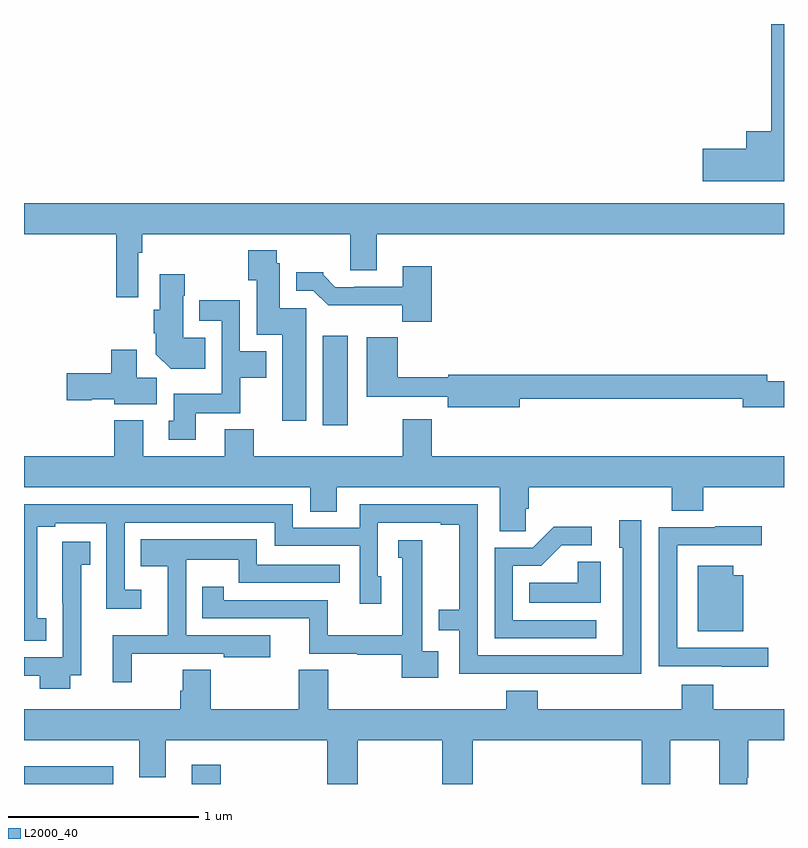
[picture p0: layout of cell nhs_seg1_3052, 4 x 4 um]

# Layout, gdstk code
import gdstk
lib = gdstk.Library(unit=1e-6, precision=1e-09)
def R(c, l, rs):  # rectangles x0, y0, x1, y1
    for r in rs: c.add(gdstk.rectangle(r[:2], r[2:], *l))
def P(c, l, *ps):  # polygons
    for p in ps: c.add(gdstk.Polygon(p, *l))
L2000_40 = (2000, 40)

nhs_seg1_3052 = lib.new_cell('nhs_seg1_3052')
R(nhs_seg1_3052, L2000_40, [(277,522.199,277.471,522.292), (277.883,522.199,278.036,522.301), (278.573,524.088,278.704,524.557)])
P(nhs_seg1_3052, L2000_40, [(281,526.199),(280.932,526.199),(280.932,525.634),(280.802,525.634),(280.802,525.542),(280.572,525.542),(280.572,525.371),(281,525.371)],
  [(277.602,524.996),(277.622,524.996),(277.622,525.092),(278.717,525.092),(278.717,524.902),(278.857,524.902),(278.857,525.092),(281,525.092),(281,525.256),(277,525.256),(277,525.092),(277.486,525.092),(277.486,524.76),(277.602,524.76)],
  [(278.485,524.703),(278.347,524.703),(278.347,524.94),(278.331,524.94),(278.331,525.007),(278.179,525.007),(278.179,524.851),(278.225,524.851),(278.225,524.564),(278.36,524.564),(278.36,524.112),(278.485,524.112)],
  [(279.146,524.923),(278.993,524.923),(278.993,524.817),(278.737,524.817),(278.737,524.814),(278.638,524.814),(278.574,524.878),(278.574,524.893),(278.432,524.893),(278.432,524.796),(278.523,524.796),(278.602,524.718),(278.991,524.718),(278.991,524.633),(279.146,524.633)],
  [(277.955,524.548),(277.837,524.548),(277.837,524.768),(277.845,524.768),(277.845,524.881),(277.715,524.881),(277.715,524.694),(277.682,524.694),(277.682,524.572),(277.694,524.572),(277.694,524.462),(277.772,524.384),(277.955,524.384)],
  [(277.903,524.15),(278.139,524.15),(278.139,524.336),(278.275,524.336),(278.275,524.476),(278.136,524.476),(278.136,524.746),(277.923,524.746),(277.923,524.637),(278.04,524.637),(278.04,524.254),(277.787,524.254),(277.787,524.112),(277.763,524.112),(277.763,524.01),(277.903,524.01)],
  [(279.61,524.226),(280.784,524.226),(280.784,524.183),(281,524.183),(281,524.318),(280.912,524.318),(280.912,524.354),(279.234,524.354),(279.234,524.339),(278.966,524.339),(278.966,524.551),(278.804,524.551),(278.804,524.238),(279.23,524.238),(279.23,524.183),(279.61,524.183)],
  [(277.699,524.336),(277.594,524.336),(277.594,524.485),(277.46,524.485),(277.46,524.36),(277.224,524.36),(277.224,524.218),(277.356,524.218),(277.356,524.225),(277.476,524.225),(277.476,524.198),(277.699,524.198)],
  [(278.21,524.065),(278.057,524.065),(278.057,523.924),(277.627,523.924),(277.627,524.113),(277.475,524.113),(277.475,523.924),(277,523.924),(277,523.76),(278.507,523.76),(278.507,523.633),(278.647,523.633),(278.647,523.76),(279.503,523.76),(279.503,523.528),(279.641,523.528),(279.641,523.648),(279.656,523.648),(279.656,523.76),(280.409,523.76),(280.409,523.636),(280.574,523.636),(280.574,523.76),(281,523.76),(281,523.924),(279.146,523.924),(279.146,524.119),(278.993,524.119),(278.993,523.924),(278.21,523.924)],
  [(280.248,523.588),(280.133,523.588),(280.133,523.443),(280.152,523.443),(280.152,522.876),(279.387,522.876),(279.387,523.671),(278.766,523.671),(278.766,523.548),(278.415,523.548),(278.415,523.671),(277.427,523.671),(277.427,523.672),(277,523.672),(277,522.952),(277.118,522.952),(277.118,523.071),(277.069,523.071),(277.069,523.554),(277.165,523.554),(277.165,523.571),(277.434,523.571),(277.434,523.121),(277.618,523.121),(277.618,523.222),(277.53,523.222),(277.53,523.575),(278.319,523.575),(278.319,523.452),(278.766,523.452),(278.766,523.149),(278.881,523.149),(278.881,523.293),(278.862,523.293),(278.862,523.575),(279.194,523.575),(279.194,523.563),(279.29,523.563),(279.29,523.117),(279.182,523.117),(279.182,523.008),(279.291,523.008),(279.291,522.78),(279.787,522.78),(279.787,522.779),(280.248,522.779)],
  [(280.918,522.915),(280.437,522.915),(280.437,523.455),(280.882,523.455),(280.882,523.555),(280.637,523.555),(280.637,523.551),(280.341,523.551),(280.341,522.819),(280.673,522.819),(280.673,522.815),(280.918,522.815)],
  [(280.012,523.062),(279.573,523.062),(279.573,523.347),(279.723,523.347),(279.831,523.455),(279.988,523.455),(279.988,523.553),(279.788,523.553),(279.678,523.443),(279.477,523.443),(279.477,522.966),(280.012,522.966)],
  [(277.568,522.885),(278.051,522.885),(278.051,522.866),(278.296,522.866),(278.296,522.981),(277.854,522.981),(277.854,523.379),(278.13,523.379),(278.13,523.258),(278.233,523.258),(278.233,523.257),(278.662,523.257),(278.662,523.353),(278.226,523.353),(278.226,523.486),(277.615,523.486),(277.615,523.346),(277.757,523.346),(277.757,522.982),(277.466,522.982),(277.466,522.735),(277.568,522.735)],
  [(279.181,522.898),(279.096,522.898),(279.096,522.994),(279.097,522.994),(279.097,523.482),(278.969,523.482),(278.969,523.389),(278.99,523.389),(278.99,522.982),(278.599,522.982),(278.599,523.167),(278.052,523.167),(278.052,523.237),(277.939,523.237),(277.939,523.071),(278.501,523.071),(278.501,522.885),(278.754,522.885),(278.754,522.88),(278.988,522.88),(278.988,522.758),(279.181,522.758)],
  [(277.243,522.771),(277.3,522.771),(277.3,523.353),(277.349,523.353),(277.349,523.474),(277.202,523.474),(277.202,523.15),(277.203,523.15),(277.203,522.867),(277,522.867),(277,522.77),(277.084,522.77),(277.084,522.701),(277.243,522.701)],
  [(280.036,523.37),(279.914,523.37),(279.914,523.258),(279.658,523.258),(279.658,523.154),(280.036,523.154)],
  [(280.786,523.297),(280.733,523.297),(280.733,523.348),(280.547,523.348),(280.547,523.004),(280.786,523.004)],
  [(277,522.428),(277.607,522.428),(277.607,522.234),(277.747,522.234),(277.747,522.428),(278.597,522.428),(278.597,522.199),(278.757,522.199),(278.757,522.428),(279.202,522.428),(279.202,522.199),(279.362,522.199),(279.362,522.428),(280.25,522.428),(280.25,522.199),(280.402,522.199),(280.402,522.428),(280.658,522.428),(280.658,522.199),(280.806,522.199),(280.806,522.232),(280.811,522.232),(280.811,522.428),(281,522.428),(281,522.592),(280.628,522.592),(280.628,522.721),(280.463,522.721),(280.463,522.592),(279.704,522.592),(279.704,522.691),(279.539,522.691),(279.539,522.592),(278.601,522.592),(278.601,522.8),(278.446,522.8),(278.446,522.592),(277.983,522.592),(277.983,522.8),(277.835,522.8),(277.835,522.69),(277.823,522.69),(277.823,522.592),(277,522.592)])

lib.write_gds('nhs_seg1_3052.gds')
